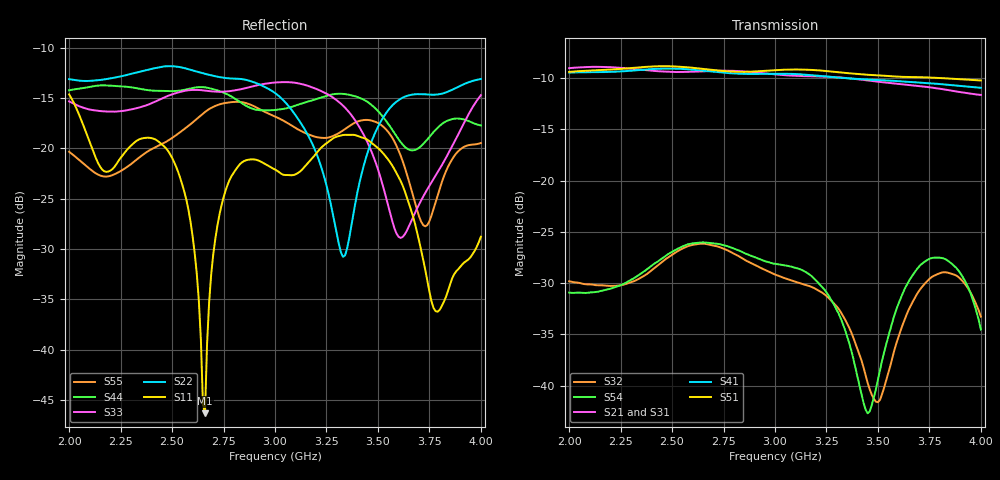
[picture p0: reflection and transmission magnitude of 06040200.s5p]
! Created with skrf 1.8.0 (http://scikit-rf.org).
# Hz S RI R 50.0
!freq ReS11 ImS11 ReS12 ImS12 ReS13 ImS13
! ReS14 ImS14 ReS15 ImS15
! ReS21 ImS21 ReS22 ImS22 ReS23 ImS23
! ReS24 ImS24 ReS25 ImS25
! ReS31 ImS31 ReS32 ImS32 ReS33 ImS33
! ReS34 ImS34 ReS35 ImS35
! ReS41 ImS41 ReS42 ImS42 ReS43 ImS43
! ReS44 ImS44 ReS45 ImS45
! ReS51 ImS51 ReS52 ImS52 ReS53 ImS53
! ReS54 ImS54 ReS55 ImS55
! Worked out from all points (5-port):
!   201 points, 2 GHz to 4 GHz, reference 50 ohm
!   strongest paths, dB at 2 GHz, 2.5 GHz, 3 GHz, 3.5 GHz, 4 GHz:
!     S51: -9.4, -8.9, -9.2, -9.7, -10.2
!     S41: -9.5, -9.1, -9.6, -10.2, -11.0
!     S21: -9.0, -9.4, -9.6, -10.4, -11.7
!     S31: -9.2, -9.5, -9.9, -10.5, -11.6
!     S54: -30.9, -27.0, -28.1, -39.4, -34.5
!     S32: -29.8, -27.2, -29.2, -41.6, -33.3
!   lowest |S11| = -46.3 dB at 2.66 GHz (marker M1), VSWR 1.01, Z = 50.1 + j0.474 ohm
!   |S11| at or under -10 dB: start of sweep to end of sweep
